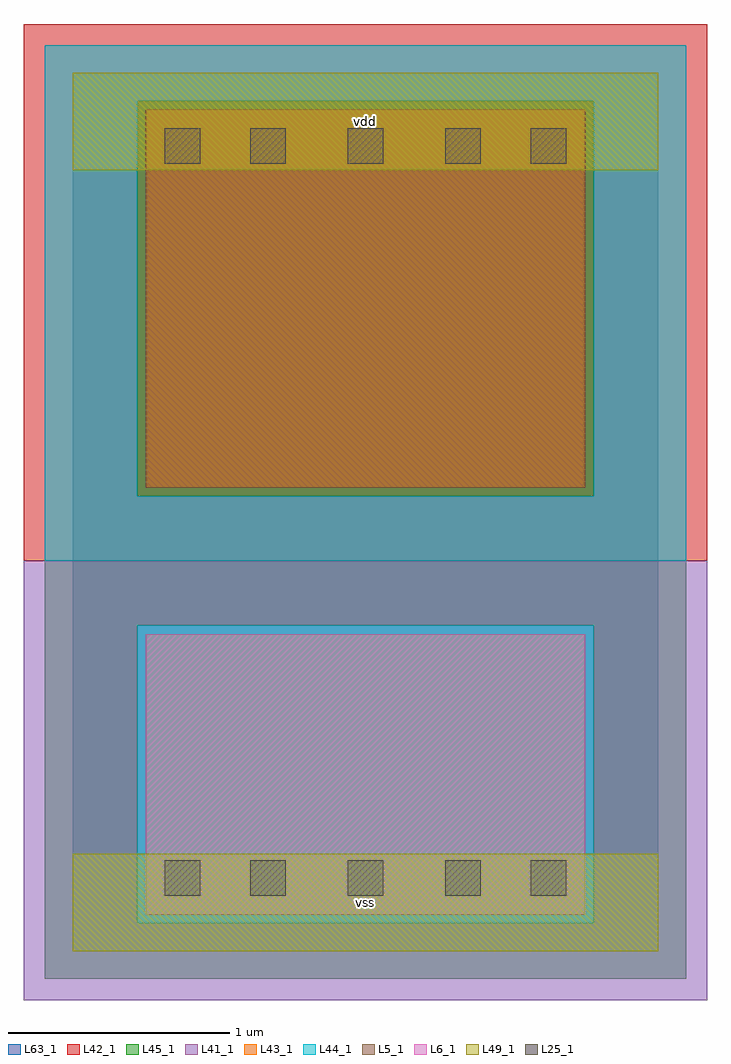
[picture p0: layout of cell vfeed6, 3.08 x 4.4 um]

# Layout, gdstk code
import gdstk
lib = gdstk.Library(unit=1e-6, precision=1e-09)
def R(c, l, rs):  # rectangles x0, y0, x1, y1
    for r in rs: c.add(gdstk.rectangle(r[:2], r[2:], *l))
def A(c, l, x, y, w, h, nx, ny, dx, dy):  # array of equal rectangles
    R(c, l, [(x+i*dx, y+j*dy, x+i*dx+w, y+j*dy+h) for i in range(nx) for j in range(ny)])
L5_1 = (5, 1)
L6_1 = (6, 1)
L25_1 = (25, 1)
L41_1 = (41, 1)
L42_1 = (42, 1)
L43_1 = (43, 1)
L44_1 = (44, 1)
L45_1 = (45, 1)
L49_1 = (49, 1)
L63_1 = (63, 1)

vfeed6 = lib.new_cell('vfeed6')
R(vfeed6, L5_1, [(0.33,2.09,2.31,3.795)])
R(vfeed6, L6_1, [(0.33,0.165,2.31,1.43)])
A(vfeed6, L25_1, 0.8, 0.25, 0.16, 0.16, 3, 2, 0.44, 3.3)
R(vfeed6, L25_1, [(0.415,0.25,0.575,0.41), (2.065,0.25,2.225,0.41), (0.415,3.55,0.575,3.71), (2.065,3.55,2.225,3.71)])
R(vfeed6, L41_1, [(-0.22,-0.22,2.86,1.76)])
R(vfeed6, L42_1, [(-0.22,1.76,2.86,4.18)])
R(vfeed6, L43_1, [(0.33,0.165,2.31,1.43), (0.33,2.09,2.31,3.795)])
R(vfeed6, L44_1, [(0.29,0.125,2.35,1.47), (-0.125,1.76,2.765,2.05), (-0.125,2.05,0.29,3.835), (2.35,2.05,2.765,3.835), (-0.125,3.835,2.765,4.085)])
R(vfeed6, L45_1, [(-0.125,-0.125,2.765,0.125), (-0.125,0.125,0.29,1.47), (2.35,0.125,2.765,1.47), (-0.125,1.47,2.765,1.76), (0.29,2.05,2.35,3.835)])
R(vfeed6, L49_1, [(0,0,2.64,0.44), (0,3.52,2.64,3.96)])
R(vfeed6, L63_1, [(0,0,2.64,3.96)])
vfeed6.add(gdstk.Label('vss', (1.32,0.22), layer=49, texttype=1))
vfeed6.add(gdstk.Label('vdd', (1.32,3.74), layer=49, texttype=1))

lib.write_gds('vfeed6.gds')
